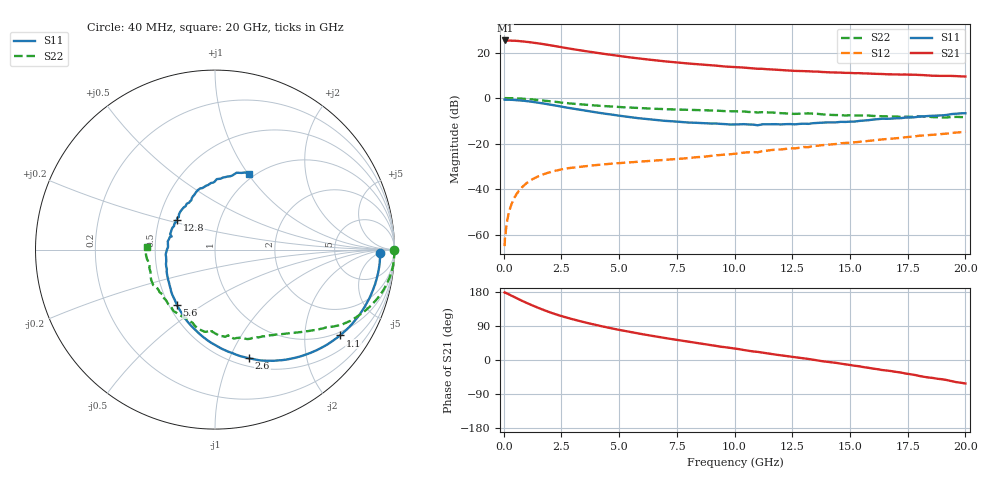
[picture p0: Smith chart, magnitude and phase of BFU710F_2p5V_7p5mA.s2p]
! Filename:  P:\Prog\Test\Noise\ATS_data\Testdata_Net\BFU710\BFU710_2W_A1_2.5V7.5mA_D.s2p
! Date/Time: Fri 29/Apr/2011 13:26:41
! BFU710_2W_A1_2.5V7.5mA
! bias mode 1: Vout= 2.5000 V, Iout= 7.5050 mA, Vin= 0.8237 V, Iin= 0.0280 mA
! Date/time Wed Mar 16 12:23:33 2011
! Device data file deembeded for feedlines and parallel
! Original file: \BFU710\BFU710_2W_A1_2.5V7.5mA_R.s2p
! Feed-files: PR003V01_101208_Feed1.s2p, PR003V01_101208_Feed2.s2p
! Parallel-file: PR003V01_101208_Par.s2p
# MHz S MA R 50
!  Freq-MHz  S11-mag  S11-arg  S21-mag  S21-arg  S12-mag  S12-arg  S22-mag  S22-arg
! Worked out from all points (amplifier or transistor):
!   167 points, 40 MHz to 20 GHz, reference 50 ohm
!   highest |S21| = 25.3 dB at 50 MHz (marker M1)
!   |S21| within 3 dB of that: start of sweep to 2.514 GHz
!   unconditionally stable (mu >= 1): 5.739 GHz to 15.86 GHz
!   at 550 MHz: K = 0.07, MSG = 33.7 dB, |S12| = -42.3 dB
!   at 4.2 GHz: K = 0.77, MSG = 24.4 dB, |S12| = -29.3 dB
!   at 20 GHz: K = 0.77, MSG = 12.1 dB, |S12| = -14.8 dB
!   S11 on the Smith chart (normalised r, x): 40 MHz: 23, -6; 1.1 GHz: 0.89, -2.98; 2.6 GHz: 0.58, -1.18; 5.6 GHz: 0.55, -0.39; 12.8 GHz: 0.62, +0.22; 20 GHz: 0.94, +1.01
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40  0.921 -1.2  18.35 178.2  0.0005575 79.7  0.9971 -0.1
50  0.9165 -1.6  18.41 177.6  0.0006973 115.9  0.997 -0.4
60  0.9214 -1.7  18.2 177.5  0.0009425 92.9  0.9986 -0.5
220  0.9188 -7.0  18.3 173.4  0.002994 87.4  0.9983 -3.4
600  0.8969 -19.2  18 161.8  0.008334 80.8  0.9834 -9.5
850  0.8734 -27.0  17.5 154.6  0.0117 76.0  0.9661 -13.3
1100  0.8451 -34.5  16.87 147.8  0.01476 71.4  0.9437 -16.9
1400  0.8048 -43.1  16.17 140.0  0.01808 66.5  0.9141 -20.9
1800  0.7485 -53.8  15.07 130.4  0.02185 61.0  0.8733 -25.5
2250  0.6842 -64.8  13.79 120.7  0.02535 56.0  0.8263 -30.1
2600  0.6346 -72.6  12.8 114.2  0.02784 52.2  0.7857 -33.1
3400  0.5414 -88.2  11.01 101.0  0.03124 46.6  0.7236 -38.1
4400  0.4523 -105.6  9.255 87.0  0.0352 42.6  0.665 -43.7
5600  0.374 -124.5  7.677 72.5  0.03909 39.8  0.6117 -49.9
6800  0.3221 -141.8  6.548 60.0  0.04303 38.8  0.5762 -55.8
8200  0.288 -160.7  5.633 46.6  0.04922 38.8  0.5464 -63.5
10200  0.264 173.0  4.73 28.6  0.06125 36.7  0.5071 -76.2
12800  0.2702 142.0  3.932 6.4  0.08055 30.5  0.4536 -93.5
13400  0.2803 135.8  3.82 0.7  0.08808 28.9  0.4533 -100.8
16800  0.3532 100.1  3.318 -29.4  0.1272 13.2  0.3923 -134.2
18200  0.3962 85.4  3.184 -44.3  0.1509 3.9  0.3935 -154.4
20000  0.4638 65.9  2.967 -62.0  0.1815 -9.0  0.3792 177.9
